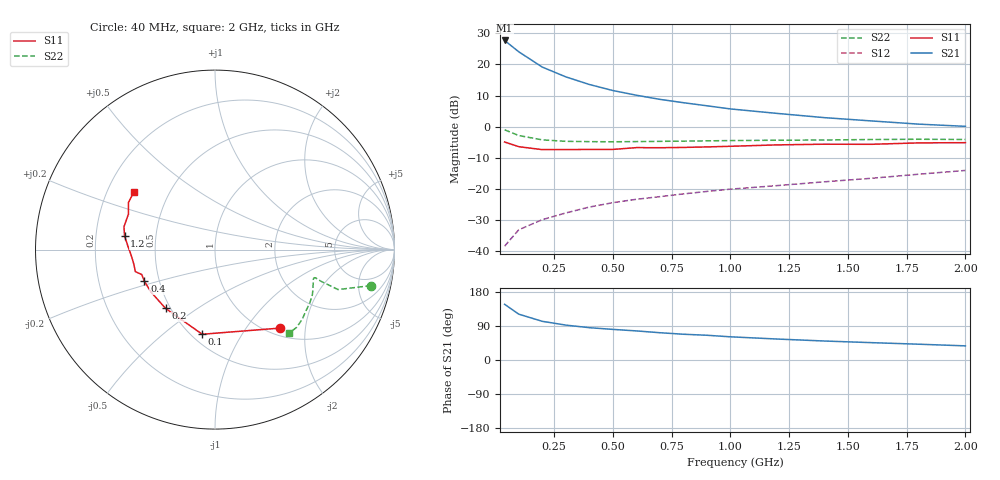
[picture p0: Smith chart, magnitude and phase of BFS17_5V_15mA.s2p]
! Filename:  BFS17D.S2P  Version:  2.0
! Philips part #: BFS17  Date: Jun 1990
! Bias condition: Vce=5V, Ic=15mA
#  MHz  S  MA  R  50
! Freq  S11  S21  S12  S22  !GUM [dB]
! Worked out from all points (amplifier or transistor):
!   16 points, 40 MHz to 2 GHz, reference 50 ohm
!   highest |S21| = 27.7 dB at 40 MHz (marker M1)
!   |S21| within 3 dB of that: start of sweep to 89.54 MHz
!   unconditionally stable (mu >= 1): 320.9 MHz to 1.54 GHz
!   at 200 MHz: K = 0.85, MSG = 24.5 dB, |S12| = -29.9 dB
!   at 800 MHz: K = 1.14, MAG = 12.4 dB, |S12| = -21.6 dB
!   at 2 GHz: K = 0.84, MSG = 7.1 dB, |S12| = -14.1 dB
!   S11 on the Smith chart (normalised r, x): 40 MHz: 1.13, -1.46; 100 MHz: 0.56, -0.69; 200 MHz: 0.47, -0.38; 400 MHz: 0.41, -0.18; 1.2 GHz: 0.33, +0.07; 2 GHz: 0.31, +0.29
40  0.567 -50.5  24.34 147.0  0.012 68.0  0.892 -13.0
100  0.477 -98.6  16.02 121.0  0.022 58.1  0.721 -18.0
200  0.428 -130.1  9.088 102.1  0.032 60.9  0.614 -16.6
300  0.428 -146.7  6.333 92.1  0.041 62.1  0.582 -15.7
400  0.431 -155.9  4.775 85.3  0.051 65.7  0.575 -15.8
500  0.431 -161.2  3.817 80.8  0.06 66.5  0.572 -16.8
600  0.461 -164.6  3.209 76.8  0.068 67.1  0.576 -18.0
700  0.459 -169.2  2.752 72.0  0.075 68.1  0.581 -19.8
800  0.464 -173.8  2.432 68.0  0.083 69.6  0.586 -21.4
900  0.473 -178.2  2.17 65.3  0.091 70.4  0.592 -23.1
1000  0.484 178.3  1.931 61.2  0.099 71.7  0.598 -24.9
1200  0.51 171.3  1.634 55.3  0.113 75.2  0.606 -29.2
1400  0.523 165.9  1.398 50.1  0.13 77.7  0.611 -34.0
1600  0.521 157.7  1.238 45.8  0.148 80.9  0.622 -38.6
1800  0.549 151.5  1.1 41.7  0.172 82.8  0.628 -43.5
2000  0.554 144.7  1.013 37.3  0.198 83.6  0.623 -48.4
